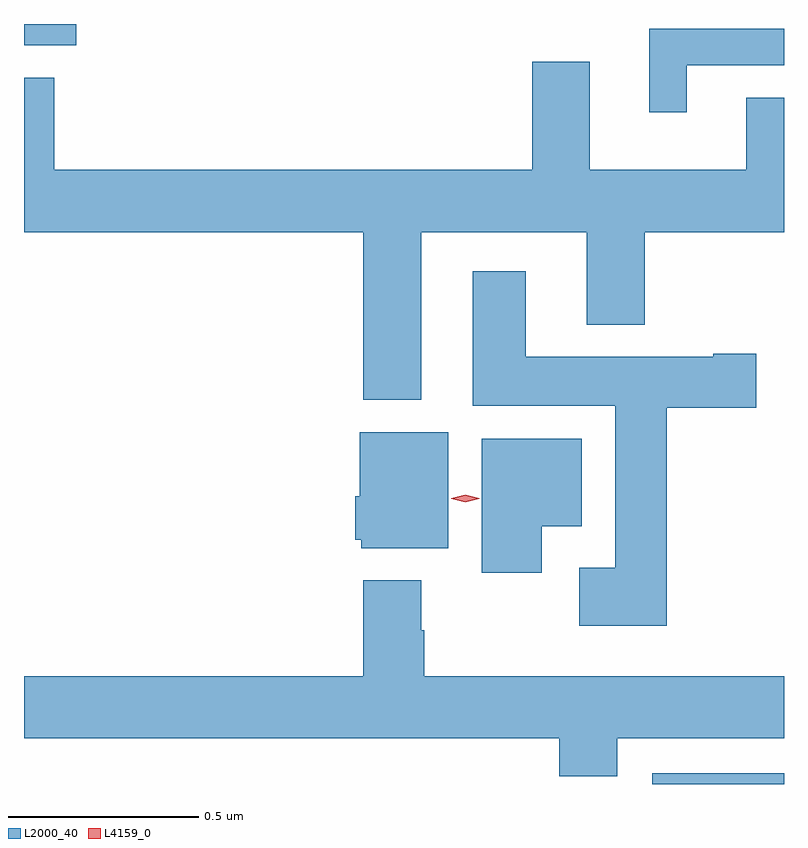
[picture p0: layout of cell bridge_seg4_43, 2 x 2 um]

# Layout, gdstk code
import gdstk
lib = gdstk.Library(unit=1e-6, precision=1e-09)
def R(c, l, rs):  # rectangles x0, y0, x1, y1
    for r in rs: c.add(gdstk.rectangle(r[:2], r[2:], *l))
def P(c, l, *ps):  # polygons
    for p in ps: c.add(gdstk.Polygon(p, *l))
L2000_40 = (2000, 40)
L4159_0 = (4159, 0)

bridge_seg4_43 = lib.new_cell('bridge_seg4_43')
R(bridge_seg4_43, L2000_40, [(678.057,830,678.404,830.028), (676.404,831.944,676.541,832)])
P(bridge_seg4_43, L2000_40, [(678.148,831.891),(678.404,831.891),(678.404,831.987),(678.05,831.987),(678.05,831.768),(678.148,831.768)],
  [(677.449,831.452),(677.885,831.452),(677.885,831.209),(678.038,831.209),(678.038,831.452),(678.404,831.452),(678.404,831.806),(678.305,831.806),(678.305,831.616),(677.893,831.616),(677.893,831.901),(677.741,831.901),(677.741,831.616),(676.484,831.616),(676.484,831.859),(676.404,831.859),(676.404,831.452),(677.297,831.452),(677.297,831.011),(677.449,831.011)],
  [(678.095,830.99),(678.331,830.99),(678.331,831.132),(678.218,831.132),(678.218,831.124),(677.725,831.124),(677.725,831.349),(677.585,831.349),(677.585,830.996),(677.96,830.996),(677.96,830.569),(677.865,830.569),(677.865,830.417),(678.095,830.417)],
  [(677.521,830.926),(677.288,830.926),(677.288,830.757),(677.276,830.757),(677.276,830.643),(677.292,830.643),(677.292,830.621),(677.521,830.621)],
  [(677.767,830.678),(677.872,830.678),(677.872,830.908),(677.609,830.908),(677.609,830.556),(677.767,830.556)],
  [(677.965,830.12),(678.404,830.12),(678.404,830.284),(677.457,830.284),(677.457,830.405),(677.449,830.405),(677.449,830.536),(677.297,830.536),(677.297,830.284),(676.404,830.284),(676.404,830.12),(677.813,830.12),(677.813,830.021),(677.965,830.021)])
P(bridge_seg4_43, L4159_0, [(677.565,830.741),(677.528,830.751),(677.528,830.751),(677.528,830.752),(677.565,830.761),(677.602,830.752),(677.602,830.751),(677.602,830.751)])

lib.write_gds('bridge_seg4_43.gds')
